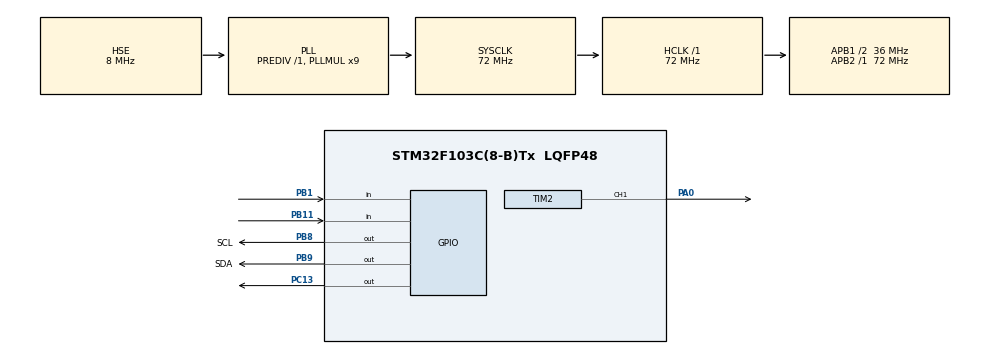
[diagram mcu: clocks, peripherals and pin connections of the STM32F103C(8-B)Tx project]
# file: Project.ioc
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Mcu.Family=STM32F1
Mcu.Name=STM32F103C(8-B)Tx
Mcu.Package=LQFP48
NVIC.PriorityGroup=NVIC_PRIORITYGROUP_4
PA0-WKUP.Signal=S_TIM2_CH1_ETR
PA13.Mode=Serial_Wire
PA13.Signal=SYS_JTMS-SWDIO
PA14.Mode=Serial_Wire
PA14.Signal=SYS_JTCK-SWCLK
PB1.GPIO_PuPd=GPIO_PULLUP
PB1.Signal=GPIO_Input
PB11.GPIO_PuPd=GPIO_PULLUP
PB11.Signal=GPIO_Input
PB8.GPIO_Label=SCL
PB8.GPIO_ModeDefaultOutputPP=GPIO_MODE_OUTPUT_OD
PB8.GPIO_PuPd=GPIO_NOPULL
PB8.GPIO_Speed=GPIO_SPEED_FREQ_HIGH
PB8.Signal=GPIO_Output
PB9.GPIO_Label=SDA
PB9.GPIO_ModeDefaultOutputPP=GPIO_MODE_OUTPUT_OD
PB9.GPIO_PuPd=GPIO_NOPULL
PB9.GPIO_Speed=GPIO_SPEED_FREQ_HIGH
PB9.Signal=GPIO_Output
PC13-TAMPER-RTC.GPIO_PuPd=GPIO_PULLDOWN
PC13-TAMPER-RTC.Signal=GPIO_Output
PD0-OSC_IN.Mode=HSE-External-Oscillator
PD0-OSC_IN.Signal=RCC_OSC_IN
PD1-OSC_OUT.Mode=HSE-External-Oscillator
PD1-OSC_OUT.Signal=RCC_OSC_OUT
ProjectManager.HeapSize=0x200
ProjectManager.StackSize=0x400
ProjectManager.TargetToolchain=MDK-ARM V5.32
RCC.AHBFreq_Value=72000000
RCC.APB1CLKDivider=RCC_HCLK_DIV2
RCC.APB1Freq_Value=36000000
RCC.APB1TimFreq_Value=72000000
RCC.APB2Freq_Value=72000000
RCC.APB2TimFreq_Value=72000000
RCC.HCLKFreq_Value=72000000
RCC.PLLMUL=RCC_PLL_MUL9
RCC.PLLSourceVirtual=RCC_PLLSOURCE_HSE
RCC.SYSCLKFreq_VALUE=72000000
RCC.SYSCLKSource=RCC_SYSCLKSOURCE_PLLCLK
RCC.USBFreq_Value=72000000
SH.S_TIM2_CH1_ETR.0=TIM2_CH1,PWM Generation1 CH1
TIM2.Channel-PWM\ Generation1\ CH1=TIM_CHANNEL_1
TIM2.Period=2000-1
TIM2.Prescaler=72-1
VP_TIM2_VS_ClockSourceINT.Mode=Internal
board=custom

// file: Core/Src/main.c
/* USER CODE BEGIN Header */
/**
  ******************************************************************************
  * @file           : main.c
  * @brief          : Main program body
  ******************************************************************************
  * @attention
  *
  * Copyright (c) 2025 STMicroelectronics.
  * All rights reserved.
  *
  * This software is licensed under terms that can be found in the LICENSE file
  * in the root directory of this software component.
  * If no LICENSE file comes with this software, it is provided AS-IS.
  *
  ******************************************************************************
  */
/* USER CODE END Header */
#include "main.h"
#include "tim.h"
#include "gpio.h"

/* USER CODE BEGIN Includes */
#include "OLED.h"
#include "Servo.h"
#include "Key.h"
/* USER CODE END Includes */

void SystemClock_Config(void);

/* USER CODE BEGIN 0 */

// 滴答定时器中断回调函数
void HAL_SYSTICK_Callback(void)
{
    // 每500ms翻转一次PC13引脚状态，实现LED闪烁
    if(uwTick % 500 == 0)
    {
        HAL_GPIO_TogglePin(GPIOC, GPIO_PIN_13);
    }
}

/* USER CODE END 0 */

int main(void)
{

  /* MCU Configuration--------------------------------------------------------*/

  /* Reset of all peripherals, Initializes the Flash interface and the Systick. */
  HAL_Init();

  /* Configure the system clock */
  SystemClock_Config();

  /* Initialize all configured peripherals */
  MX_GPIO_Init();
  MX_TIM2_Init();
  /* USER CODE BEGIN 2 */

  /*模块初始化*/
  OLED_Init();		    //OLED初始化
  Servo_Init();		    //舵机初始化
  Key_Init();			//按键初始化

  uint8_t KeyNum;	    //定义用于接收键码的变量
  float Angle;			//定义角度变量

  /*显示静态字符串*/
  OLED_ShowString(1, 1, "Angle:");	//1行1列显示字符串Angle:

  /* USER CODE END 2 */

  /* Infinite loop */
  /* USER CODE BEGIN WHILE */
  while (1)
  {
    KeyNum = Key_GetNum();			//获取按键键码
    if (KeyNum == 1)				//按键1按下
    {
        Angle += 30;				//角度变量自增30
        if (Angle > 180)			//角度变量超过180后
        {
            Angle = 0;				//角度变量归零
        }
    }
    Servo_SetAngle(Angle);			//设置舵机的角度为角度变量
    OLED_ShowNum(1, 7, Angle, 3);	//OLED显示角度变量
    /* USER CODE END WHILE */

  }
}

void SystemClock_Config(void)
{
  RCC_OscInitTypeDef RCC_OscInitStruct = {0};
  RCC_ClkInitTypeDef RCC_ClkInitStruct = {0};

  /** Initializes the RCC Oscillators according to the specified parameters
  * in the RCC_OscInitTypeDef structure.
  */
  RCC_OscInitStruct.OscillatorType = RCC_OSCILLATORTYPE_HSE;
  RCC_OscInitStruct.HSEState = RCC_HSE_ON;
  RCC_OscInitStruct.HSEPredivValue = RCC_HSE_PREDIV_DIV1;
  RCC_OscInitStruct.HSIState = RCC_HSI_ON;
  RCC_OscInitStruct.PLL.PLLState = RCC_PLL_ON;
  RCC_OscInitStruct.PLL.PLLSource = RCC_PLLSOURCE_HSE;
  RCC_OscInitStruct.PLL.PLLMUL = RCC_PLL_MUL9;
  if (HAL_RCC_OscConfig(&RCC_OscInitStruct) != HAL_OK)
  {
    Error_Handler();
  }

  /** Initializes the CPU, AHB and APB buses clocks
  */
  RCC_ClkInitStruct.ClockType = RCC_CLOCKTYPE_HCLK|RCC_CLOCKTYPE_SYSCLK
                              |RCC_CLOCKTYPE_PCLK1|RCC_CLOCKTYPE_PCLK2;
  RCC_ClkInitStruct.SYSCLKSource = RCC_SYSCLKSOURCE_PLLCLK;
  RCC_ClkInitStruct.AHBCLKDivider = RCC_SYSCLK_DIV1;
  RCC_ClkInitStruct.APB1CLKDivider = RCC_HCLK_DIV2;
  RCC_ClkInitStruct.APB2CLKDivider = RCC_HCLK_DIV1;

  if (HAL_RCC_ClockConfig(&RCC_ClkInitStruct, FLASH_LATENCY_2) != HAL_OK)
  {
    Error_Handler();
  }
}

void Error_Handler(void)
{
  __disable_irq();
  while (1)
  {
  }
}
